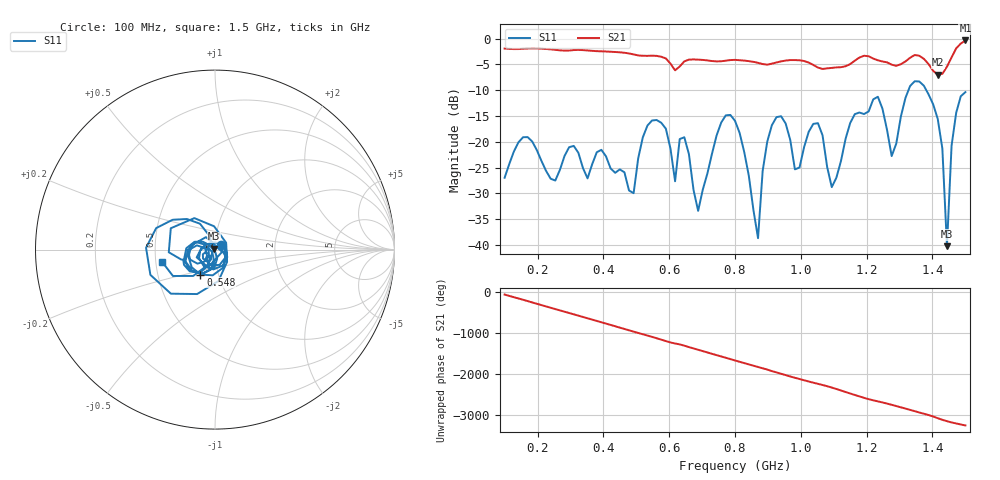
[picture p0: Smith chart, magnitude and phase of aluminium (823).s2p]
! NanoVNA-App
! Date: 2025-09-25 15:01:41
! Start: 100MHz Stop: 1,5GHz Points: 101
! S-Parameter data: F S11 S21 S12 S22
# Hz S RI R 50
!  Frequency  S11_Real  S11_Imag  S21_Real  S21_Imag  S12_Real  S12_Imag  S22_Real  S22_Imag
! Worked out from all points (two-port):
!   101 points, 100 MHz to 1.5 GHz, reference 50 ohm
!   highest |S21| = -0.36 dB at 1.5 GHz (marker M1); lowest = -7.0 dB at 1.416 GHz (marker M2)
!   |S21| within 3 dB of the highest: start of sweep to 563 MHz; 1.46 GHz to end of sweep (the widest 2 of 4)
!   lowest |S11| = -40.2 dB at 1.444 GHz (marker M3), VSWR 1.02, Z = 49.2 + j0.514 ohm
!   |S11| at or under -10 dB: start of sweep to 1.327 GHz; 1.381 GHz to end of sweep
!   S12 and S22 are empty: the file has one direction only
!   S11 on the Smith chart (normalised r, x): 100 MHz: 1.07, +0.06; 548 MHz: 0.82, -0.23; 1.5 GHz: 0.54, -0.08
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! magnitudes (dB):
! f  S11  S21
! 100 MHz  -27.0  -1.9
! 156 MHz  -19.1  -2.0
! 338 MHz  -25.1  -2.2
! 492 MHz  -30.0  -3.1
! 548 MHz  -15.9  -3.3
! 576 MHz  -16.3  -3.5
! 618 MHz  -27.6  -6.1
! 646 MHz  -19.1  -4.4
! 688 MHz  -33.4  -4.1
! 800 MHz  -15.9  -4.1
! 870 MHz  -38.7  -4.7
! 912 MHz  -16.8  -4.9
! 982 MHz  -25.3  -4.2
! 1.038 GHz  -16.5  -5.1
! 1.094 GHz  -28.8  -5.7
! 1.234 GHz  -11.3  -4.2
! 1.276 GHz  -22.8  -5.0
! 1.346 GHz  -8.3  -3.2
! 1.416 GHz  -15.6  -7.0
! 1.444 GHz  -40.2  -5.4
! 1.458 GHz  -20.8  -3.6
! 1.5 GHz  -10.4  -0.4
